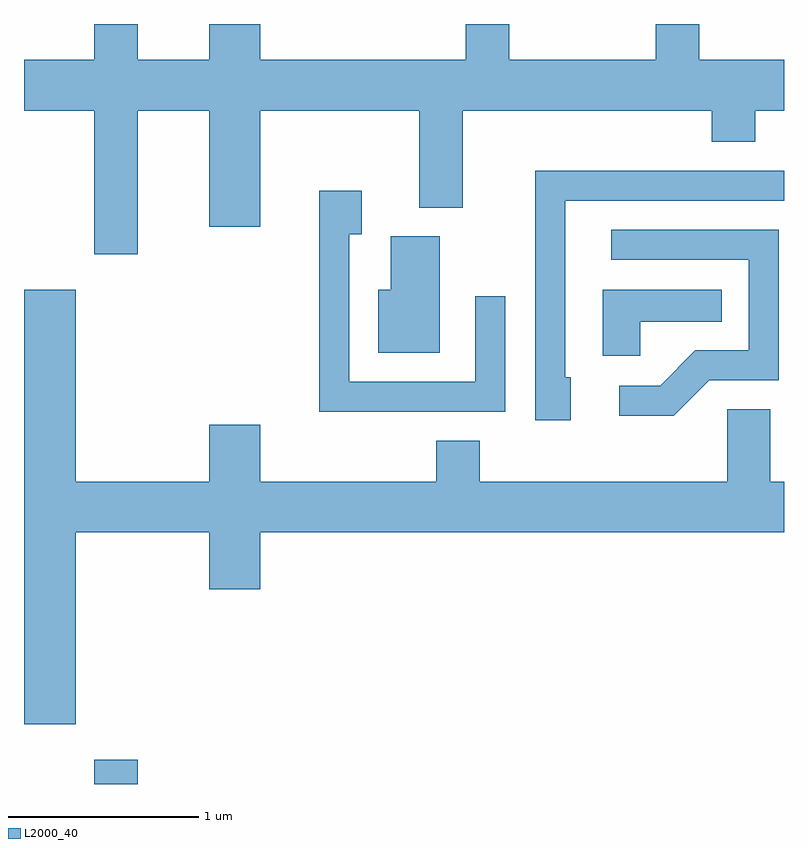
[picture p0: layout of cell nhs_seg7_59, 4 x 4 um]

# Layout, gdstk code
import gdstk
lib = gdstk.Library(unit=1e-6, precision=1e-09)
def R(c, l, rs):  # rectangles x0, y0, x1, y1
    for r in rs: c.add(gdstk.rectangle(r[:2], r[2:], *l))
def P(c, l, *ps):  # polygons
    for p in ps: c.add(gdstk.Polygon(p, *l))
L2000_40 = (2000, 40)

nhs_seg7_59 = lib.new_cell('nhs_seg7_59')
R(nhs_seg7_59, L2000_40, [(185.981,1786.252,186.209,1786.379)])
P(nhs_seg7_59, L2000_40, [(186.209,1789.796),(186.586,1789.796),(186.586,1789.186),(186.854,1789.186),(186.854,1789.796),(187.691,1789.796),(187.691,1789.286),(187.919,1789.286),(187.919,1789.796),(189.231,1789.796),(189.231,1789.631),(189.459,1789.631),(189.459,1789.796),(189.611,1789.796),(189.611,1790.064),(189.164,1790.064),(189.164,1790.252),(188.936,1790.252),(188.936,1790.064),(188.164,1790.064),(188.164,1790.252),(187.936,1790.252),(187.936,1790.064),(186.854,1790.064),(186.854,1790.252),(186.586,1790.252),(186.586,1790.064),(186.209,1790.064),(186.209,1790.252),(185.981,1790.252),(185.981,1790.064),(185.611,1790.064),(185.611,1789.796),(185.981,1789.796),(185.981,1789.041),(186.209,1789.041)],
  [(188.489,1788.394),(188.459,1788.394),(188.459,1789.321),(189.611,1789.321),(189.611,1789.479),(188.301,1789.479),(188.301,1788.166),(188.489,1788.166)],
  [(188.144,1788.818),(187.986,1788.818),(187.986,1788.369),(187.324,1788.369),(187.324,1789.146),(187.389,1789.146),(187.389,1789.374),(187.166,1789.374),(187.166,1788.211),(188.144,1788.211)],
  [(189.217,1788.376),(189.584,1788.376),(189.584,1789.169),(188.703,1789.169),(188.703,1789.011),(189.426,1789.011),(189.426,1788.534),(189.144,1788.534),(188.959,1788.349),(188.743,1788.349),(188.743,1788.191),(189.032,1788.191)],
  [(187.799,1789.134),(187.541,1789.134),(187.541,1788.854),(187.476,1788.854),(187.476,1788.521),(187.799,1788.521)],
  [(185.884,1787.576),(186.586,1787.576),(186.586,1787.276),(186.854,1787.276),(186.854,1787.576),(189.611,1787.576),(189.611,1787.844),(189.539,1787.844),(189.539,1788.224),(189.311,1788.224),(189.311,1787.844),(188.009,1787.844),(188.009,1788.059),(187.781,1788.059),(187.781,1787.844),(186.854,1787.844),(186.854,1788.144),(186.586,1788.144),(186.586,1787.844),(185.884,1787.844),(185.884,1788.854),(185.611,1788.854),(185.611,1786.566),(185.884,1786.566)],
  [(188.854,1788.686),(189.283,1788.686),(189.283,1788.854),(188.656,1788.854),(188.656,1788.506),(188.854,1788.506)])

lib.write_gds('nhs_seg7_59.gds')
